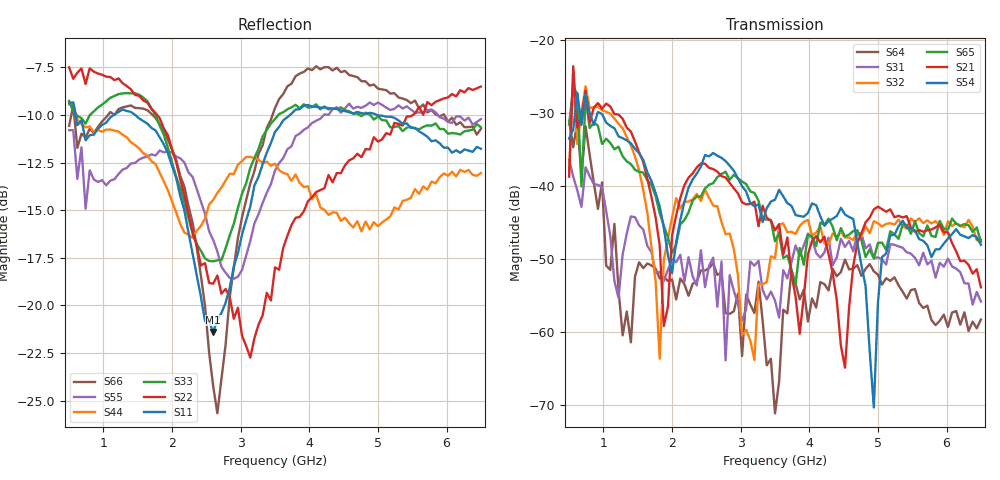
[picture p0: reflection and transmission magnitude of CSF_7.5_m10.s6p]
!Keysight Technologies,M9804A,MY58100912,A.14.10.03
!Date: Thursday, April 27, 2023 10:28:33
!Correction: S11(C  6-Port  )
!S12(C  6-Port  )
!S13(C  6-Port  )
!S14(C  6-Port  )
!S15(C  6-Port  )
!S16(C  6-Port  )
!S21(C  6-Port  )
!S22(C  6-Port  )
!S23(C  6-Port  )
!S24(C  6-Port  )
!S25(C  6-Port  )
!S26(C  6-Port  )
!S31(C  6-Port  )
!S32(C  6-Port  )
!S33(C  6-Port  )
!S34(C  6-Port  )
!S35(C  6-Port  )
!S36(C  6-Port  )
!S41(C  6-Port  )
!S42(C  6-Port  )
!S43(C  6-Port  )
!S44(C  6-Port  )
!S45(C  6-Port  )
!S46(C  6-Port  )
!S51(C  6-Port  )
!S52(C  6-Port  )
!S53(C  6-Port  )
!S54(C  6-Port  )
!S55(C  6-Port  )
!S56(C  6-Port  )
!S61(C  6-Port  )
!S62(C  6-Port  )
!S63(C  6-Port  )
!S64(C  6-Port  )
!S65(C  6-Port  )
!S66(C  6-Port  )
!S6P File: Measurement: :
# Hz S  RI  R 50
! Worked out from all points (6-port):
!   101 points, 500 MHz to 6.5 GHz, reference 50 ohm
!   strongest paths, dB at 500 MHz, 2 GHz, 3.5 GHz, 5 GHz, 6.5 GHz:
!     S54: -33.5, -51.9, -41.9, -56.0, -48.0
!     S21: -38.7, -46.8, -46.1, -42.8, -53.9
!     S65: -31.6, -49.2, -47.6, -47.8, -47.6
!     S32: -37.9, -44.3, -49.9, -45.1, -47.4
!     S31: -36.4, -50.0, -55.7, -49.7, -55.8
!     S64: -31.0, -52.8, -71.1, -52.1, -58.3
!   lowest |S11| = -21.4 dB at 2.6 GHz (marker M1), VSWR 1.19, Z = 42.5 + j2.28 ohm
!   |S11| at or under -10 dB: 593.4 MHz to 1.15 GHz (556.2 MHz wide, 63.8 % of centre); 1.464 GHz to 3.718 GHz (2.254 GHz wide, 87 % of centre); 4.989 GHz to end of sweep
